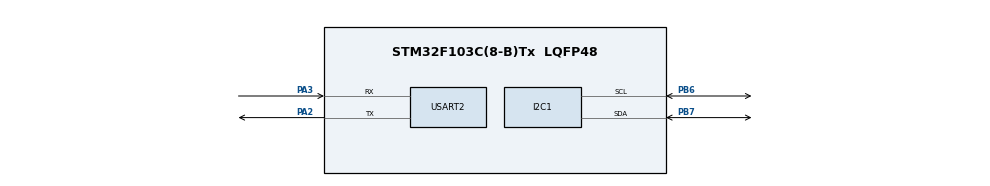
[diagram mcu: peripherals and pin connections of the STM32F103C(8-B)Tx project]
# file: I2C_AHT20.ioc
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Mcu.Family=STM32F1
Mcu.Name=STM32F103C(8-B)Tx
Mcu.Package=LQFP48
NVIC.PriorityGroup=NVIC_PRIORITYGROUP_4
PA13.Mode=Serial_Wire
PA13.Signal=SYS_JTMS-SWDIO
PA14.Mode=Serial_Wire
PA14.Signal=SYS_JTCK-SWCLK
PA2.Mode=Asynchronous
PA2.Signal=USART2_TX
PA3.Mode=Asynchronous
PA3.Signal=USART2_RX
PB6.Mode=I2C
PB6.Signal=I2C1_SCL
PB7.Mode=I2C
PB7.Signal=I2C1_SDA
ProjectManager.HeapSize=0x200
ProjectManager.StackSize=0x400
ProjectManager.TargetToolchain=MDK-ARM V5.32
RCC.APB1Freq_Value=8000000
RCC.APB2Freq_Value=8000000
USART2.VirtualMode=VM_ASYNC
board=custom

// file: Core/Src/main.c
/* USER CODE BEGIN Header */
/**
  ******************************************************************************
  * @file           : main.c
  * @brief          : Main program body
  ******************************************************************************
  * @attention
  *
  * Copyright (c) 2025 STMicroelectronics.
  * All rights reserved.
  *
  * This software is licensed under terms that can be found in the LICENSE file
  * in the root directory of this software component.
  * If no LICENSE file comes with this software, it is provided AS-IS.
  *
  ******************************************************************************
  */
/* USER CODE END Header */
#include "main.h"
#include "i2c.h"
#include "usart.h"
#include "gpio.h"

/* USER CODE BEGIN Includes */
#include "aht20.h"
#include "stdio.h"
#include "string.h"
#include "oled.h"
/* USER CODE END Includes */

void SystemClock_Config(void);

int main(void)
{

  /* MCU Configuration--------------------------------------------------------*/

  /* Reset of all peripherals, Initializes the Flash interface and the Systick. */
  HAL_Init();

  /* Configure the system clock */
  SystemClock_Config();

  /* Initialize all configured peripherals */
  MX_GPIO_Init();
  MX_I2C1_Init();
  MX_USART2_UART_Init();
  /* USER CODE BEGIN 2 */
	float temperature, humidity; // 温度和湿度变量
  char message_uart[50];       // 要发送的字符串
  char message_temp[30];	// oled显示温度字符串
  char message_hum[30];		// oled显示湿度字符串
  AHT20_Init();
  HAL_Delay(20);
  OLED_Init();
  /* USER CODE END 2 */

  /* Infinite loop */
  /* USER CODE BEGIN WHILE */
  while (1)
  {
		// 读取温湿度
	  AHT20_Read(&temperature, &humidity);
	  // 打印温湿度
	  sprintf(message_uart, "温度: %.1f ℃, 湿度: %.1f %%\r\n", temperature, humidity);
	  sprintf(message_temp, "温度: %.1f ℃", temperature);
	  sprintf(message_hum, "湿度: %.1f %%", humidity);
	  // 串口发送
	  HAL_UART_Transmit(&huart2, (uint8_t *)message_uart, strlen(message_uart), HAL_MAX_DELAY);
	  // oled显示
	  OLED_NewFrame();
	  OLED_PrintString(0, 16, message_temp, &font16x16, OLED_COLOR_NORMAL);
	  OLED_PrintString(0, 32, message_hum, &font16x16, OLED_COLOR_NORMAL);
	  OLED_ShowFrame();
	  // 延时 1 秒
	  HAL_Delay(1000);
    /* USER CODE END WHILE */

  }
}

void SystemClock_Config(void)
{
  RCC_OscInitTypeDef RCC_OscInitStruct = {0};
  RCC_ClkInitTypeDef RCC_ClkInitStruct = {0};

  /** Initializes the RCC Oscillators according to the specified parameters
  * in the RCC_OscInitTypeDef structure.
  */
  RCC_OscInitStruct.OscillatorType = RCC_OSCILLATORTYPE_HSI;
  RCC_OscInitStruct.HSIState = RCC_HSI_ON;
  RCC_OscInitStruct.HSICalibrationValue = RCC_HSICALIBRATION_DEFAULT;
  RCC_OscInitStruct.PLL.PLLState = RCC_PLL_NONE;
  if (HAL_RCC_OscConfig(&RCC_OscInitStruct) != HAL_OK)
  {
    Error_Handler();
  }

  /** Initializes the CPU, AHB and APB buses clocks
  */
  RCC_ClkInitStruct.ClockType = RCC_CLOCKTYPE_HCLK|RCC_CLOCKTYPE_SYSCLK
                              |RCC_CLOCKTYPE_PCLK1|RCC_CLOCKTYPE_PCLK2;
  RCC_ClkInitStruct.SYSCLKSource = RCC_SYSCLKSOURCE_HSI;
  RCC_ClkInitStruct.AHBCLKDivider = RCC_SYSCLK_DIV1;
  RCC_ClkInitStruct.APB1CLKDivider = RCC_HCLK_DIV1;
  RCC_ClkInitStruct.APB2CLKDivider = RCC_HCLK_DIV1;

  if (HAL_RCC_ClockConfig(&RCC_ClkInitStruct, FLASH_LATENCY_0) != HAL_OK)
  {
    Error_Handler();
  }
}

void Error_Handler(void)
{
  __disable_irq();
  while (1)
  {
  }
}
